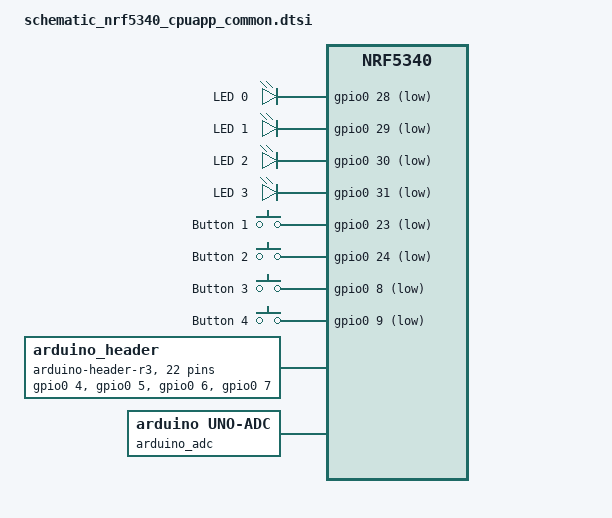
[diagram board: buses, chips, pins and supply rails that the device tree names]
/*
 * The following DTSI file is made from information taken from the schematic
 *
 * The schematic is from the hardware files taken from https://www.nordicsemi.com/Products/Development-hardware/nRF5340-DK/Download#infotabs
 */

 #include <nordic/nrf5340_cpuapp_qkaa.dtsi>

 / {

	chosen {

        // Nothing from the schematic file specifically gives me any info on the chosen section

	};

	leds {
		compatible = "gpio-leds";
		led0: led_0 { // In the schematic LEDs are indexed at 1
			gpios = <&gpio0 28 GPIO_ACTIVE_LOW>; // Schematics infer that the GPIOs should be active low, due to current flowing from VDD_PER to GPIO
			label = "LED 0";
		};
		led1: led_1 {
			gpios = <&gpio0 29 GPIO_ACTIVE_LOW>;
			label = "LED 1";
		};
		led2: led_2 {
			gpios = <&gpio0 30 GPIO_ACTIVE_LOW>;
			label = "LED 2";
		};
		led3: led_3 {
			gpios = <&gpio0 31 GPIO_ACTIVE_LOW>;
			label = "LED 3";
		};
	};

	pwmleds {

        // Could not find info on PWM from schematics

	};
	buttons {
		compatible = "gpio-keys";
		button0: button_0 {
			gpios = <&gpio0 23 (GPIO_PULL_UP | GPIO_ACTIVE_LOW)>;
			label = "Button 1";
			// no info on zephyr,code = <INPUT_KEY_0>; however it is part of linux input event code system and links to an application - layer decision
		};
		button1: button_1 {
			gpios = <&gpio0 24 (GPIO_PULL_UP | GPIO_ACTIVE_LOW)>;
			label = "Button 2";
			// no info on zephyr,code = <INPUT_KEY_1>;
		};
		button2: button_2 {
			gpios = <&gpio0 8 (GPIO_PULL_UP | GPIO_ACTIVE_LOW)>;
			label = "Button 3";
			// no info on zephyr,code = <INPUT_KEY_2>;
		};
		button3: button_3 {
			gpios = <&gpio0 9 (GPIO_PULL_UP | GPIO_ACTIVE_LOW)>;
			label = "Button 4";
			// no info on zephyr,code = <INPUT_KEY_3>;
		};
	};

	arduino_header: connector {
		compatible = "arduino-header-r3";
		#gpio-cells = <2>;
		// no info on gpio-map-mask however could be calculated
		// no info on gpio-map-pass-thru however could be calculated
		gpio-map = <0 0 &gpio0 4 0>,	/* A0 */
			   <1 0 &gpio0 5 0>,	/* A1 */
			   <2 0 &gpio0 6 0>,	/* A2 */
			   <3 0 &gpio0 7 0>,	/* A3 */
			   <4 0 &gpio0 25 0>,	/* A4 */
			   <5 0 &gpio0 26 0>,	/* A5 */
			   <6 0 &gpio1 0 0>,	/* D0 */
			   <7 0 &gpio1 1 0>,	/* D1 */
			   <8 0 &gpio1 4 0>,	/* D2 */
			   <9 0 &gpio1 5 0>,	/* D3 */
			   <10 0 &gpio1 6 0>,	/* D4 */
			   <11 0 &gpio1 7 0>,	/* D5 */
			   <12 0 &gpio1 8 0>,	/* D6 */
			   <13 0 &gpio1 9 0>,	/* D7 */
			   <14 0 &gpio1 10 0>,	/* D8 */
			   <15 0 &gpio1 11 0>,	/* D9 */
			   <16 0 &gpio1 12 0>,	/* D10 */
			   <17 0 &gpio1 13 0>,	/* D11 */
			   <18 0 &gpio1 14 0>,	/* D12 */
			   <19 0 &gpio1 15 0>,	/* D13 */
			   <20 0 &gpio1 2 0>,	/* D14 */
			   <21 0 &gpio1 3 0>;	/* D15 */
	};

	arduino_adc: analog-connector { // No info on the schematic that these GPIOs to the ADC
		compatible = "arduino,uno-adc";
		#io-channel-cells = <1>;
		io-channel-map = <0 &adc 0>,	/* A0 = P0.4 = AIN0 */
				 <1 &adc 1>,	/* A1 = P0.5 = AIN1 */
				 <2 &adc 2>,	/* A2 = P0.6 = AIN2 */
				 <3 &adc 3>,	/* A3 = P0.7 = AIN3 */
				 <4 &adc 4>,	/* A4 = P0.25 = AIN4 */
				 <5 &adc 5>;	/* A5 = P0.26 = AIN5 */
	};

	gpio_fwd: nrf-gpio-forwarder {
		compatible = "nordic,nrf-gpio-forwarder";
		status = "okay";
		uart {
			gpios = <&gpio1 1 0>, <&gpio1 0 0>, <&gpio0 11 0>, <&gpio0 10 0>;
		};
	};

	/* These aliases are provided for compatibility with samples */
	aliases {
		led0 = &led0;
		led1 = &led1;
		led2 = &led2;
		led3 = &led3;
		pwm-led0 = &pwm_led0;
		sw0 = &button0; // In the schematic switches are indexed at 1
		sw1 = &button1;
		sw2 = &button2;
		sw3 = &button3;
		bootloader-led0 = &led0;
		mcuboot-button0 = &button0; //IMCU boot pin found but no link to button
		mcuboot-led0 = &led0; // IMCU LED on the schematic but it is labelled as LED 5, not LED 1 (or 0 from dtsi file)
		watchdog0 = &wdt0; // No mention of watchdog in schematic
	};
};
